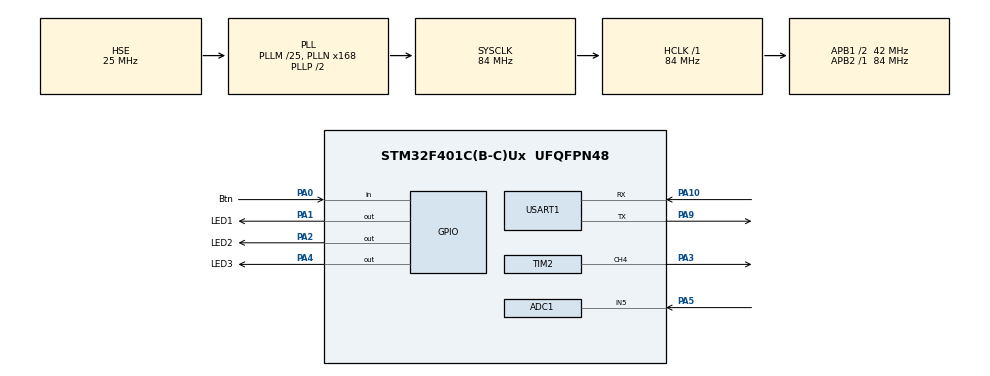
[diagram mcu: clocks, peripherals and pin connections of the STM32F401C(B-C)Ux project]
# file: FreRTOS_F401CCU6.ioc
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ADC1.Channel-0\#ChannelRegularConversion=ADC_CHANNEL_5
ADC1.ClockPrescaler=ADC_CLOCK_SYNC_PCLK_DIV6
ADC1.ContinuousConvMode=ENABLE
ADC1.InjNumberOfConversion=0
ADC1.NbrOfConversion=1
ADC1.NbrOfConversionFlag=1
ADC1.Rank-0\#ChannelRegularConversion=1
ADC1.SamplingTime-0\#ChannelRegularConversion=ADC_SAMPLETIME_3CYCLES
ADC1.ScanConvMode=DISABLE
ADC1.master=1
FREERTOS.BinarySemaphores01=BtnSem,Static,BtControlBlock
FREERTOS.Queues01=UARTQueue,10,QUEUE_t,0,Static,UARTQueueBuffer,UARTQueueControlBlock
FREERTOS.Tasks01=defaultTask,24,128,StartDefaultTask,Default,NULL,Static,defaultTaskBuffer,defaultTaskControlBlock;myLED1Task,8,128,StartLED1Task,Default,NULL,Static,myLED1TaskBuffer,myLED1TaskControlBlock;myLED2Task,8,128,StartLED2Task,Default,NULL,Static,myLED2TaskBuffer,myLED2TaskControlBlock;myReadBtnTask,8,128,StartReadBtnTask,Default,NULL,Static,myReadBtnBuffer,myReadBtnControlBlock;myLED3Task,8,128,StartLED3Task,Default,NULL,Static,myLED3TaskBuffer,myLED3TaskControlBlock;myADCTask,8,128,StartADCTask,Default,NULL,Static,myADCTaskBuffer,myADCTaskControlBlock;myUARTTask,8,128,StartUARTTask,Default,NULL,Static,myUARTTaskBuffer,myUARTTaskControlBlock
FREERTOS.configUSE_NEWLIB_REENTRANT=1
Mcu.Family=STM32F4
Mcu.Name=STM32F401C(B-C)Ux
Mcu.Package=UFQFPN48
NVIC.PriorityGroup=NVIC_PRIORITYGROUP_4
NVIC.TIM1_UP_TIM10_IRQn=true\:15\:0\:false\:false\:true\:false\:false\:true\:true
NVIC.TimeBase=TIM1_UP_TIM10_IRQn
NVIC.TimeBaseIP=TIM1
PA0-WKUP.GPIO_Label=Btn
PA0-WKUP.GPIO_PuPd=GPIO_PULLUP
PA0-WKUP.Signal=GPIO_Input
PA1.GPIO_Label=LED1
PA1.Signal=GPIO_Output
PA10.Mode=Asynchronous
PA10.Signal=USART1_RX
PA13.Mode=Serial_Wire
PA13.Signal=SYS_JTMS-SWDIO
PA14.Mode=Serial_Wire
PA14.Signal=SYS_JTCK-SWCLK
PA2.GPIO_Label=LED2
PA2.Signal=GPIO_Output
PA3.Signal=S_TIM2_CH4
PA4.GPIO_Label=LED3
PA4.Signal=GPIO_Output
PA5.Signal=ADCx_IN5
PA9.Mode=Asynchronous
PA9.Signal=USART1_TX
PH0\ -\ OSC_IN.Mode=HSE-External-Oscillator
PH0\ -\ OSC_IN.Signal=RCC_OSC_IN
PH1\ -\ OSC_OUT.Mode=HSE-External-Oscillator
PH1\ -\ OSC_OUT.Signal=RCC_OSC_OUT
ProjectManager.HeapSize=0x200
ProjectManager.StackSize=0x400
ProjectManager.TargetToolchain=STM32CubeIDE
RCC.48MHZClocksFreq_Value=42000000
RCC.AHBFreq_Value=84000000
RCC.APB1CLKDivider=RCC_HCLK_DIV2
RCC.APB1Freq_Value=42000000
RCC.APB1TimFreq_Value=84000000
RCC.APB2Freq_Value=84000000
RCC.APB2TimFreq_Value=84000000
RCC.CortexFreq_Value=84000000
RCC.HCLKFreq_Value=84000000
RCC.HSE_VALUE=25000000
RCC.HSI_VALUE=16000000
RCC.LSE_VALUE=32768
RCC.PLLM=25
RCC.PLLN=168
RCC.PLLSourceVirtual=RCC_PLLSOURCE_HSE
RCC.SYSCLKFreq_VALUE=84000000
RCC.SYSCLKSource=RCC_SYSCLKSOURCE_PLLCLK
RCC.VCOOutputFreq_Value=168000000
SH.ADCx_IN5.0=ADC1_IN5,IN5
SH.S_TIM2_CH4.0=TIM2_CH4,PWM Generation4 CH4
TIM2.AutoReloadPreload=TIM_AUTORELOAD_PRELOAD_DISABLE
TIM2.Channel-PWM\ Generation4\ CH4=TIM_CHANNEL_4
TIM2.Period=4095
TIM2.Prescaler=300
USART1.VirtualMode=VM_ASYNC
VP_FREERTOS_VS_CMSIS_V2.Mode=CMSIS_V2
VP_SYS_VS_tim1.Mode=TIM1
board=custom

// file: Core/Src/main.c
/* USER CODE BEGIN Header */
/**
  ******************************************************************************
  * @file           : main.c
  * @brief          : Main program body
  ******************************************************************************
  * @attention
  *
  * Copyright (c) 2023 STMicroelectronics.
  * All rights reserved.
  *
  * This software is licensed under terms that can be found in the LICENSE file
  * in the root directory of this software component.
  * If no LICENSE file comes with this software, it is provided AS-IS.
  *
  ******************************************************************************
  */
/* USER CODE END Header */
#include "main.h"
#include "cmsis_os.h"

/* USER CODE BEGIN Includes */
#include "string.h"
/* USER CODE END Includes */

typedef StaticTask_t osStaticThreadDef_t;
typedef StaticQueue_t osStaticMessageQDef_t;
typedef StaticSemaphore_t osStaticSemaphoreDef_t;
/* USER CODE BEGIN PTD */
typedef struct {
	char Buf[128];
} QUEUE_t;
/* USER CODE END PTD */

ADC_HandleTypeDef hadc1;

TIM_HandleTypeDef htim2;

UART_HandleTypeDef huart1;

/* Definitions for defaultTask */
osThreadId_t defaultTaskHandle;
uint32_t defaultTaskBuffer[ 128 ];
osStaticThreadDef_t defaultTaskControlBlock;
const osThreadAttr_t defaultTask_attributes = {
  .name = "defaultTask",
  .cb_mem = &defaultTaskControlBlock,
  .cb_size = sizeof(defaultTaskControlBlock),
  .stack_mem = &defaultTaskBuffer[0],
  .stack_size = sizeof(defaultTaskBuffer),
  .priority = (osPriority_t) osPriorityNormal,
};
/* Definitions for myLED1Task */
osThreadId_t myLED1TaskHandle;
uint32_t myLED1TaskBuffer[ 128 ];
osStaticThreadDef_t myLED1TaskControlBlock;
const osThreadAttr_t myLED1Task_attributes = {
  .name = "myLED1Task",
  .cb_mem = &myLED1TaskControlBlock,
  .cb_size = sizeof(myLED1TaskControlBlock),
  .stack_mem = &myLED1TaskBuffer[0],
  .stack_size = sizeof(myLED1TaskBuffer),
  .priority = (osPriority_t) osPriorityLow,
};
/* Definitions for myLED2Task */
osThreadId_t myLED2TaskHandle;
uint32_t myLED2TaskBuffer[ 128 ];
osStaticThreadDef_t myLED2TaskControlBlock;
const osThreadAttr_t myLED2Task_attributes = {
  .name = "myLED2Task",
  .cb_mem = &myLED2TaskControlBlock,
  .cb_size = sizeof(myLED2TaskControlBlock),
  .stack_mem = &myLED2TaskBuffer[0],
  .stack_size = sizeof(myLED2TaskBuffer),
  .priority = (osPriority_t) osPriorityLow,
};
/* Definitions for myReadBtnTask */
osThreadId_t myReadBtnTaskHandle;
uint32_t myReadBtnBuffer[ 128 ];
osStaticThreadDef_t myReadBtnControlBlock;
const osThreadAttr_t myReadBtnTask_attributes = {
  .name = "myReadBtnTask",
  .cb_mem = &myReadBtnControlBlock,
  .cb_size = sizeof(myReadBtnControlBlock),
  .stack_mem = &myReadBtnBuffer[0],
  .stack_size = sizeof(myReadBtnBuffer),
  .priority = (osPriority_t) osPriorityLow,
};
/* Definitions for myLED3Task */
osThreadId_t myLED3TaskHandle;
uint32_t myLED3TaskBuffer[ 128 ];
osStaticThreadDef_t myLED3TaskControlBlock;
const osThreadAttr_t myLED3Task_attributes = {
  .name = "myLED3Task",
  .cb_mem = &myLED3TaskControlBlock,
  .cb_size = sizeof(myLED3TaskControlBlock),
  .stack_mem = &myLED3TaskBuffer[0],
  .stack_size = sizeof(myLED3TaskBuffer),
  .priority = (osPriority_t) osPriorityLow,
};
/* Definitions for myADCTask */
osThreadId_t myADCTaskHandle;
uint32_t myADCTaskBuffer[ 128 ];
osStaticThreadDef_t myADCTaskControlBlock;
const osThreadAttr_t myADCTask_attributes = {
  .name = "myADCTask",
  .cb_mem = &myADCTaskControlBlock,
  .cb_size = sizeof(myADCTaskControlBlock),
  .stack_mem = &myADCTaskBuffer[0],
  .stack_size = sizeof(myADCTaskBuffer),
  .priority = (osPriority_t) osPriorityLow,
};
/* Definitions for myUARTTask */
osThreadId_t myUARTTaskHandle;
uint32_t myUARTTaskBuffer[ 128 ];
osStaticThreadDef_t myUARTTaskControlBlock;
const osThreadAttr_t myUARTTask_attributes = {
  .name = "myUARTTask",
  .cb_mem = &myUARTTaskControlBlock,
  .cb_size = sizeof(myUARTTaskControlBlock),
  .stack_mem = &myUARTTaskBuffer[0],
  .stack_size = sizeof(myUARTTaskBuffer),
  .priority = (osPriority_t) osPriorityLow,
};
/* Definitions for UARTQueue */
osMessageQueueId_t UARTQueueHandle;
uint8_t UARTQueueBuffer[ 10 * sizeof( QUEUE_t ) ];
osStaticMessageQDef_t UARTQueueControlBlock;
const osMessageQueueAttr_t UARTQueue_attributes = {
  .name = "UARTQueue",
  .cb_mem = &UARTQueueControlBlock,
  .cb_size = sizeof(UARTQueueControlBlock),
  .mq_mem = &UARTQueueBuffer,
  .mq_size = sizeof(UARTQueueBuffer)
};
/* Definitions for BtnSem */
osSemaphoreId_t BtnSemHandle;
osStaticSemaphoreDef_t BtControlBlock;
const osSemaphoreAttr_t BtnSem_attributes = {
  .name = "BtnSem",
  .cb_mem = &BtControlBlock,
  .cb_size = sizeof(BtControlBlock),
};

void SystemClock_Config(void);
static void MX_GPIO_Init(void);
static void MX_TIM2_Init(void);
static void MX_USART1_UART_Init(void);
static void MX_ADC1_Init(void);
void StartDefaultTask(void *argument);
void StartLED1Task(void *argument);
void StartLED2Task(void *argument);
void StartReadBtnTask(void *argument);
void StartLED3Task(void *argument);
void StartADCTask(void *argument);
void StartUARTTask(void *argument);

int main(void)
{

  /* MCU Configuration--------------------------------------------------------*/

  /* Reset of all peripherals, Initializes the Flash interface and the Systick. */
  HAL_Init();

  /* Configure the system clock */
  SystemClock_Config();

  /* Initialize all configured peripherals */
  MX_GPIO_Init();
  MX_TIM2_Init();
  MX_USART1_UART_Init();
  MX_ADC1_Init();
  /* USER CODE BEGIN 2 */
  //HAL_ADC_Start(&hadc1);
  HAL_TIM_PWM_Start(&htim2, TIM_CHANNEL_4);
  /* USER CODE END 2 */

  /* Init scheduler */
  osKernelInitialize();

  /* Create the semaphores(s) */
  /* creation of BtnSem */
  BtnSemHandle = osSemaphoreNew(1, 0, &BtnSem_attributes);

  /* Create the queue(s) */
  /* creation of UARTQueue */
  UARTQueueHandle = osMessageQueueNew (10, sizeof(QUEUE_t), &UARTQueue_attributes);

  /* Create the thread(s) */
  /* creation of defaultTask */
  defaultTaskHandle = osThreadNew(StartDefaultTask, NULL, &defaultTask_attributes);

  /* creation of myLED1Task */
  myLED1TaskHandle = osThreadNew(StartLED1Task, NULL, &myLED1Task_attributes);

  /* creation of myLED2Task */
  myLED2TaskHandle = osThreadNew(StartLED2Task, NULL, &myLED2Task_attributes);

  /* creation of myReadBtnTask */
  myReadBtnTaskHandle = osThreadNew(StartReadBtnTask, NULL, &myReadBtnTask_attributes);

  /* creation of myLED3Task */
  myLED3TaskHandle = osThreadNew(StartLED3Task, NULL, &myLED3Task_attributes);

  /* creation of myADCTask */
  myADCTaskHandle = osThreadNew(StartADCTask, NULL, &myADCTask_attributes);

  /* creation of myUARTTask */
  myUARTTaskHandle = osThreadNew(StartUARTTask, NULL, &myUARTTask_attributes);

  /* Start scheduler */
  osKernelStart();

  /* We should never get here as control is now taken by the scheduler */
  /* Infinite loop */
  while (1)
  {

  }
}

void SystemClock_Config(void)
{
  RCC_OscInitTypeDef RCC_OscInitStruct = {0};
  RCC_ClkInitTypeDef RCC_ClkInitStruct = {0};

  /** Configure the main internal regulator output voltage
  */
  __HAL_RCC_PWR_CLK_ENABLE();
  __HAL_PWR_VOLTAGESCALING_CONFIG(PWR_REGULATOR_VOLTAGE_SCALE2);

  /** Initializes the RCC Oscillators according to the specified parameters
  * in the RCC_OscInitTypeDef structure.
  */
  RCC_OscInitStruct.OscillatorType = RCC_OSCILLATORTYPE_HSE;
  RCC_OscInitStruct.HSEState = RCC_HSE_ON;
  RCC_OscInitStruct.PLL.PLLState = RCC_PLL_ON;
  RCC_OscInitStruct.PLL.PLLSource = RCC_PLLSOURCE_HSE;
  RCC_OscInitStruct.PLL.PLLM = 25;
  RCC_OscInitStruct.PLL.PLLN = 168;
  RCC_OscInitStruct.PLL.PLLP = RCC_PLLP_DIV2;
  RCC_OscInitStruct.PLL.PLLQ = 4;
  if (HAL_RCC_OscConfig(&RCC_OscInitStruct) != HAL_OK)
  {
    Error_Handler();
  }

  /** Initializes the CPU, AHB and APB buses clocks
  */
  RCC_ClkInitStruct.ClockType = RCC_CLOCKTYPE_HCLK|RCC_CLOCKTYPE_SYSCLK
                              |RCC_CLOCKTYPE_PCLK1|RCC_CLOCKTYPE_PCLK2;
  RCC_ClkInitStruct.SYSCLKSource = RCC_SYSCLKSOURCE_PLLCLK;
  RCC_ClkInitStruct.AHBCLKDivider = RCC_SYSCLK_DIV1;
  RCC_ClkInitStruct.APB1CLKDivider = RCC_HCLK_DIV2;
  RCC_ClkInitStruct.APB2CLKDivider = RCC_HCLK_DIV1;

  if (HAL_RCC_ClockConfig(&RCC_ClkInitStruct, FLASH_LATENCY_2) != HAL_OK)
  {
    Error_Handler();
  }
}

static void MX_ADC1_Init(void)
{

  ADC_ChannelConfTypeDef sConfig = {0};

  /** Configure the global features of the ADC (Clock, Resolution, Data Alignment and number of conversion)
  */
  hadc1.Instance = ADC1;
  hadc1.Init.ClockPrescaler = ADC_CLOCK_SYNC_PCLK_DIV6;
  hadc1.Init.Resolution = ADC_RESOLUTION_12B;
  hadc1.Init.ScanConvMode = DISABLE;
  hadc1.Init.ContinuousConvMode = ENABLE;
  hadc1.Init.DiscontinuousConvMode = DISABLE;
  hadc1.Init.ExternalTrigConvEdge = ADC_EXTERNALTRIGCONVEDGE_NONE;
  hadc1.Init.ExternalTrigConv = ADC_SOFTWARE_START;
  hadc1.Init.DataAlign = ADC_DATAALIGN_RIGHT;
  hadc1.Init.NbrOfConversion = 1;
  hadc1.Init.DMAContinuousRequests = DISABLE;
  hadc1.Init.EOCSelection = ADC_EOC_SINGLE_CONV;
  if (HAL_ADC_Init(&hadc1) != HAL_OK)
  {
    Error_Handler();
  }

  /** Configure for the selected ADC regular channel its corresponding rank in the sequencer and its sample time.
  */
  sConfig.Channel = ADC_CHANNEL_5;
  sConfig.Rank = 1;
  sConfig.SamplingTime = ADC_SAMPLETIME_3CYCLES;
  if (HAL_ADC_ConfigChannel(&hadc1, &sConfig) != HAL_OK)
  {
    Error_Handler();
  }

}

static void MX_TIM2_Init(void)
{

  TIM_MasterConfigTypeDef sMasterConfig = {0};
  TIM_OC_InitTypeDef sConfigOC = {0};

  htim2.Instance = TIM2;
  htim2.Init.Prescaler = 300;
  htim2.Init.CounterMode = TIM_COUNTERMODE_UP;
  htim2.Init.Period = 4095;
  htim2.Init.ClockDivision = TIM_CLOCKDIVISION_DIV1;
  htim2.Init.AutoReloadPreload = TIM_AUTORELOAD_PRELOAD_DISABLE;
  if (HAL_TIM_PWM_Init(&htim2) != HAL_OK)
  {
    Error_Handler();
  }
  sMasterConfig.MasterOutputTrigger = TIM_TRGO_RESET;
  sMasterConfig.MasterSlaveMode = TIM_MASTERSLAVEMODE_DISABLE;
  if (HAL_TIMEx_MasterConfigSynchronization(&htim2, &sMasterConfig) != HAL_OK)
  {
    Error_Handler();
  }
  sConfigOC.OCMode = TIM_OCMODE_PWM1;
  sConfigOC.Pulse = 0;
  sConfigOC.OCPolarity = TIM_OCPOLARITY_HIGH;
  sConfigOC.OCFastMode = TIM_OCFAST_DISABLE;
  if (HAL_TIM_PWM_ConfigChannel(&htim2, &sConfigOC, TIM_CHANNEL_4) != HAL_OK)
  {
    Error_Handler();
  }
  HAL_TIM_MspPostInit(&htim2);

}

static void MX_USART1_UART_Init(void)
{

  huart1.Instance = USART1;
  huart1.Init.BaudRate = 115200;
  huart1.Init.WordLength = UART_WORDLENGTH_8B;
  huart1.Init.StopBits = UART_STOPBITS_1;
  huart1.Init.Parity = UART_PARITY_NONE;
  huart1.Init.Mode = UART_MODE_TX_RX;
  huart1.Init.HwFlowCtl = UART_HWCONTROL_NONE;
  huart1.Init.OverSampling = UART_OVERSAMPLING_16;
  if (HAL_UART_Init(&huart1) != HAL_OK)
  {
    Error_Handler();
  }

}

static void MX_GPIO_Init(void)
{
  GPIO_InitTypeDef GPIO_InitStruct = {0};

  /* GPIO Ports Clock Enable */
  __HAL_RCC_GPIOH_CLK_ENABLE();
  __HAL_RCC_GPIOA_CLK_ENABLE();

  /*Configure GPIO pin Output Level */
  HAL_GPIO_WritePin(GPIOA, LED1_Pin|LED2_Pin|LED3_Pin, GPIO_PIN_RESET);

  /*Configure GPIO pin : Btn_Pin */
  GPIO_InitStruct.Pin = Btn_Pin;
  GPIO_InitStruct.Mode = GPIO_MODE_INPUT;
  GPIO_InitStruct.Pull = GPIO_PULLUP;
  HAL_GPIO_Init(Btn_GPIO_Port, &GPIO_InitStruct);

  /*Configure GPIO pins : LED1_Pin LED2_Pin LED3_Pin */
  GPIO_InitStruct.Pin = LED1_Pin|LED2_Pin|LED3_Pin;
  GPIO_InitStruct.Mode = GPIO_MODE_OUTPUT_PP;
  GPIO_InitStruct.Pull = GPIO_NOPULL;
  GPIO_InitStruct.Speed = GPIO_SPEED_FREQ_LOW;
  HAL_GPIO_Init(GPIOA, &GPIO_InitStruct);

}

void StartDefaultTask(void *argument)
{
  for(;;)
  {
    osDelay(1);
  }
}

void StartLED1Task(void *argument)
{
  /* USER CODE BEGIN StartLED1Task */
	QUEUE_t msg;
  /* Infinite loop */
  for(;;)
  {
	HAL_GPIO_TogglePin(LED1_GPIO_Port, LED1_Pin);
	strcpy(msg.Buf,"LED1 Blink\r\n");
	osMessageQueuePut(UARTQueueHandle, &msg, 0, osWaitForever);
	osDelay(1000);
  }
  /* USER CODE END StartLED1Task */
}

void StartLED2Task(void *argument)
{
  /* USER CODE BEGIN StartLED2Task */
	QUEUE_t msg;
  /* Infinite loop */
  for(;;)
  {
	HAL_GPIO_TogglePin(LED2_GPIO_Port, LED2_Pin);
	strcpy(msg.Buf,"LED2 Blink\r\n");
	osMessageQueuePut(UARTQueueHandle, &msg, 0, osWaitForever);
	osDelay(2000);
  }
  /* USER CODE END StartLED2Task */
}

void StartReadBtnTask(void *argument)
{
  /* USER CODE BEGIN StartReadBtnTask */
  QUEUE_t msg;
  /* Infinite loop */
  for(;;)
  {
	if (!HAL_GPIO_ReadPin(Btn_GPIO_Port, Btn_Pin))
	{
		osSemaphoreRelease(BtnSemHandle);
		strcpy(msg.Buf,"Btn Pressed\r\n");
		osMessageQueuePut(UARTQueueHandle, &msg, 0, osWaitForever);
	}
	osDelay(200);
  }
  /* USER CODE END StartReadBtnTask */
}

void StartLED3Task(void *argument)
{
  /* USER CODE BEGIN StartLED3Task */
  /* Infinite loop */
  for(;;)
  {
	if (osSemaphoreAcquire(BtnSemHandle, osWaitForever) == osOK)
	{
		HAL_GPIO_TogglePin(LED3_GPIO_Port, LED3_Pin);
	}
	 osDelay(100);
  }
  /* USER CODE END StartLED3Task */
}

void StartADCTask(void *argument)
{
  /* USER CODE BEGIN StartADCTask */
  QUEUE_t msg;
  /* Infinite loop */
  for(;;)
  {
	  HAL_ADC_Start(&hadc1);
	  uint16_t adc_res = HAL_ADC_GetValue(&hadc1);
	  __HAL_TIM_SET_COMPARE(&htim2,TIM_CHANNEL_4,adc_res);
	  if (adc_res < 10)
	  {
	    strcpy(msg.Buf,"MIN ADC\r\n");
	    osMessageQueuePut(UARTQueueHandle, &msg, 0, osWaitForever);
	    osDelay(100);
	  }
	  else if (adc_res > 4000)
	  {
	    strcpy(msg.Buf,"MAX ADC\r\n");
	    osMessageQueuePut(UARTQueueHandle, &msg, 0, osWaitForever);
	    osDelay(100);
	  }
	  osDelay(10);
  }
  /* USER CODE END StartADCTask */
}

void StartUARTTask(void *argument)
{
  /* USER CODE BEGIN StartUARTTask */
  QUEUE_t msg;
  /* Infinite loop */
  for(;;)
  {
	osMessageQueueGet(UARTQueueHandle, &msg, 0, osWaitForever);
	HAL_UART_Transmit(&huart1, (uint8_t*)msg.Buf, strlen(msg.Buf), osWaitForever);
	osDelay(1);
  }
  /* USER CODE END StartUARTTask */
}

void HAL_TIM_PeriodElapsedCallback(TIM_HandleTypeDef *htim)
{
  if (htim->Instance == TIM1) {
    HAL_IncTick();
  }
}

void Error_Handler(void)
{
  __disable_irq();
  while (1)
  {
  }
}
